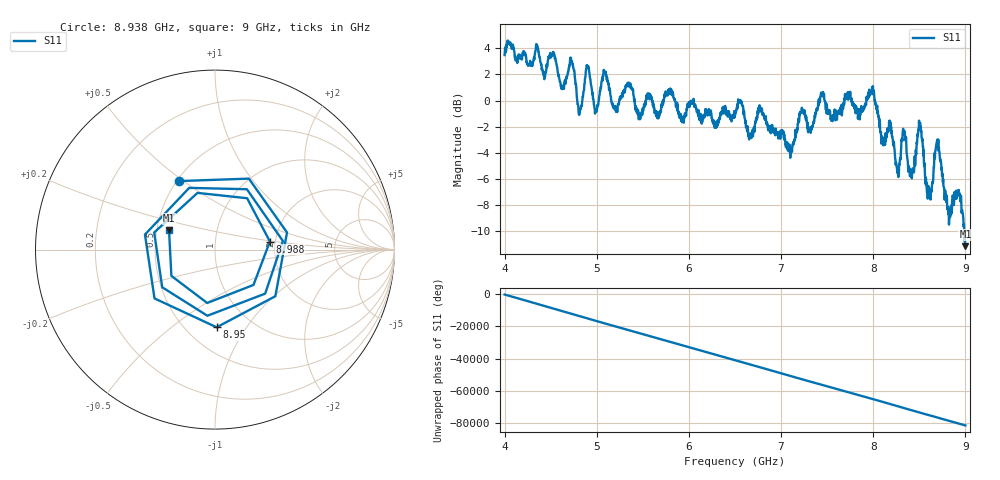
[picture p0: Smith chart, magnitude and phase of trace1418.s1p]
! Created with skrf 1.8.0 (http://scikit-rf.org).
# Hz S RI R 50.0
!freq ReS11 ImS11
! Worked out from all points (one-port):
!   1601 points, 4 GHz to 9 GHz, reference 50 ohm
!   lowest |S11| = -11.1 dB at 9 GHz (marker M1), VSWR 1.77, Z = 29 + j6.79 ohm
!   |S11| at or under -10 dB: 8.986962 GHz to end of sweep
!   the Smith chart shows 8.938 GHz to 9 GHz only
!   S11 on the Smith chart (normalised r, x): 8.938 GHz: 0.51, +0.48; 8.95 GHz: 0.70, -0.74; 8.988 GHz: 1.87, +0.19; 9 GHz: 0.58, +0.14
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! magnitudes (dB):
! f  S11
! 4 GHz  3.5
! 4.519 GHz  3.5
! 4.625 GHz  0.9
! 4.722 GHz  3.1
! 4.812 GHz  -1.1
! 4.9 GHz  2.6
! 4.991 GHz  -0.8
! 5.081 GHz  2.2
! 5.25 GHz  0.2
! 5.875 GHz  -0.8
! 6.5 GHz  -1.1
! 7.125 GHz  -3.3
! 7.225 GHz  -0.5
! 7.75 GHz  0.7
! 7.988 GHz  1.0
! 8.103 GHz  -3.0
! 8.266 GHz  -5.3
! 8.331 GHz  -2.4
! 8.375 GHz  -4.6
! 8.422 GHz  -5.5
! 8.506 GHz  -1.8
! 8.6 GHz  -6.9
! 8.697 GHz  -3.0
! 8.828 GHz  -8.7
! 8.938 GHz  -7.3
! 8.95 GHz  -7.3
! 8.988 GHz  -10.2
! 9 GHz  -11.1
